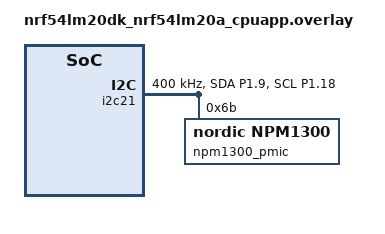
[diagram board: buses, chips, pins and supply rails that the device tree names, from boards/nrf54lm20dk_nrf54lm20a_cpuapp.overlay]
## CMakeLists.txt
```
cmake_minimum_required(VERSION 3.20.0)

find_package(Zephyr REQUIRED HINTS $ENV{ZEPHYR_BASE})
project(rapoo_npm1300)

target_sources(app PRIVATE
  src/main.c
  src/pwr_service.c
  src/advertising_ext.c
  src/fuel_gauge.c
)
```

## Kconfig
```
source "Kconfig.zephyr"

menu "Rapoo npm1300 power profiling"

config BT_POWER_PROFILING_DATA_LENGTH
	int "Notification data length"
	default 20
	range 1 BT_L2CAP_TX_MTU
	help
	  Length of the data sent through the notification mechanism.

config BT_POWER_PROFILING_NOTIFICATION_INTERVAL
	int "Notification interval"
	default 500
	help
	  Notification send interval in milliseconds. Notification data is sent on every interval
	  expiration.

config BT_POWER_PROFILING_NOTIFICATION_TIMEOUT
	int "Notification timeout"
	default 10000
	help
	  Notification timeout in milliseconds. When this timeout fires the device will stop
	  sending notifications.

config BT_POWER_PROFILING_CONNECTABLE_ADV_DURATION
	int "Connectable advertising duration"
	default 3000
	help
	  Connectable advertising duration in N*10 milliseconds unit.

config BT_POWER_PROFILING_NON_CONNECTABLE_ADV_DURATION
	int "Non-connectable advertising duration"
	default 6000
	help
	  Non-connectable advertising duration in N*10 milliseconds unit.

config BT_POWER_PROFILING_CONNECTABLE_ADV_INTERVAL_MIN
	int "Connectable advertising minimum interval"
	default 160
	help
	  Connectable advertising minimum interval in 0.625 milliseconds unit.

config BT_POWER_PROFILING_CONNECTABLE_ADV_INTERVAL_MAX
	int "Connectable advertising maximum interval"
	default 240
	help
	  Connectable advertising maximum interval in 0.625 milliseconds unit.

config BT_POWER_PROFILING_NON_CONNECTABLE_ADV_INTERVAL_MIN
	int "Non-connectable advertising minimum interval"
	default 1600
	help
	  Non-connectable advertising minimum interval in 0.625 milliseconds unit.

config BT_POWER_PROFILING_NON_CONNECTABLE_ADV_INTERVAL_MAX
	int "Non-connectable advertising maximum interval"
	default 1920
	help
	  Non-connectable advertising maximum interval in 0.625 milliseconds unit.

endmenu
```

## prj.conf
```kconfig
# Power management (needed for low power + I2C runtime suspend)
CONFIG_PM_DEVICE=y
CONFIG_PM_DEVICE_RUNTIME=y

CONFIG_MAIN_STACK_SIZE=2048
CONFIG_SYSTEM_WORKQUEUE_STACK_SIZE=2048

# 32 kHz clock source: internal RC oscillator.
# RC calibration stays enabled and uses HFXO, which the radio needs anyway.
CONFIG_CLOCK_CONTROL_NRF_K32SRC_RC=y

# I2C + PMIC + fuel gauge
CONFIG_I2C=y
CONFIG_SENSOR=y
CONFIG_MFD_NPM13XX=y
CONFIG_NPM13XX_CHARGER=y
CONFIG_NRF_FUEL_GAUGE=y
CONFIG_NRF_FUEL_GAUGE_VARIANT_SECONDARY_CELL=y

# Settings on internal RRAM: use ZMS instead of NVS
CONFIG_FLASH=y
CONFIG_FLASH_MAP=y
CONFIG_ZMS=y
CONFIG_SETTINGS=y
CONFIG_SETTINGS_ZMS=y

# Bluetooth power profiling peripheral
CONFIG_BT=y
CONFIG_BT_PERIPHERAL=y
CONFIG_BT_SMP=y
CONFIG_BT_SMP_SC_PAIR_ONLY=y
CONFIG_BT_DEVICE_NAME="Rapoo_pmic"
CONFIG_BT_EXT_ADV=y
CONFIG_BT_USER_PHY_UPDATE=y
CONFIG_BT_CTLR_PHY_CODED=y
CONFIG_BT_SETTINGS=y
CONFIG_BT_ASSERT=n
CONFIG_ASSERT_VERBOSE=n

# No UART console; logs go to J-Link RTT only
CONFIG_LOG=y
CONFIG_LOG_MODE_DEFERRED=y
CONFIG_LOG_DEFAULT_LEVEL=3
CONFIG_USE_SEGGER_RTT=y
CONFIG_LOG_BACKEND_RTT=y
CONFIG_LOG_BACKEND_RTT_MODE_DROP=y
CONFIG_SEGGER_RTT_MODE_NO_BLOCK_SKIP=y
CONFIG_LOG_BACKEND_UART=n
CONFIG_PRINTK=n
CONFIG_BOOT_BANNER=n
CONFIG_NCS_BOOT_BANNER=n
CONFIG_BT_SETTINGS_USE_PRINTK=n
CONFIG_SERIAL=n
CONFIG_CONSOLE=n
CONFIG_UART_CONSOLE=n
CONFIG_SHELL=n
CONFIG_I2C_SHELL=n
CONFIG_LOG_CMDS=n
CONFIG_DK_LIBRARY=n
```

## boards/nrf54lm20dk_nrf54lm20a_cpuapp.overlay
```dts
/*
 * nRF54LM20A application overlay:
 * - remove every on-board peripheral node (LEDs, buttons, UART, SPI, ADC, PWM,
 *   NFC, 802.15.4, USB, temp sensor, GPIO ports)
 * - keep a single I2C bus: SDA = P1.09, SCL = P1.11
 * - attach the nPM1300 PMIC (charger only, no LED node) with its GPIO3
 *   interrupt output wired to P0.09
 */

/ {
	chosen {
		/delete-property/ zephyr,console;
		/delete-property/ zephyr,shell-uart;
		/delete-property/ zephyr,uart-mcumgr;
		/delete-property/ zephyr,bt-mon-uart;
		/delete-property/ zephyr,bt-c2h-uart;
		/delete-property/ zephyr,ieee802154;
		/delete-property/ zephyr,usb-bc12;
	};

	aliases {
		/delete-property/ led0;
		/delete-property/ led1;
		/delete-property/ led2;
		/delete-property/ led3;
		/delete-property/ pwm-led0;
		/delete-property/ sw0;
		/delete-property/ sw1;
		/delete-property/ sw2;
		/delete-property/ sw3;
		/delete-property/ adc;
		/delete-property/ mcuboot-button0;
		/delete-property/ mcuboot-led0;
	};

	/delete-node/ leds;
	/delete-node/ pwmleds;
	/delete-node/ buttons;
	/delete-node/ nordic_expansion_header;
};

/* Board peripherals that are enabled by the DK devicetree */
&uart20 {
	status = "disabled";
};

&uart30 {
	status = "disabled";
};

&spi00 {
	status = "disabled";
};

&spi22 {
	status = "disabled";
};

&pwm20 {
	status = "disabled";
};

&pwm21 {
	status = "disabled";
};

&adc {
	status = "disabled";
};

&nfct {
	status = "disabled";
};

&ieee802154 {
	status = "disabled";
};

&usbhs {
	status = "disabled";
};

&usbhs_bc12 {
	status = "disabled";
};

&temp {
	status = "disabled";
};

/* 32 kHz comes from the internal RC oscillator, no external crystal */
&lfxo {
	status = "disabled";
};

/* No GPIO consumer in this application (PMIC interrupt is not used:
 * GPOIRQ reflects raw event bits and the MFD driver does not clear the ADC
 * and BCHARGER0 events, which keeps the line high and makes its work handler
 * spin. VBUS/charge status is polled every 2 s instead.) */
&gpio0 {
	status = "disabled";
};

&gpio1 {
	status = "disabled";
};

&gpio2 {
	status = "disabled";
};

&gpio3 {
	status = "disabled";
};

&gpiote20 {
	status = "disabled";
};

/* gpiote30 is only needed by gpio0, which is unused */
&gpiote30 {
	status = "disabled";
};

/* Single I2C bus, SDA = P1.09, SCL = P1.11 */
&pinctrl {
	i2c21_default: i2c21_default {
		group1 {
			psels = <NRF_PSEL(TWIM_SDA, 1, 9)>,
				<NRF_PSEL(TWIM_SCL, 1, 18)>;
			bias-pull-up;
		};
	};

	i2c21_sleep: i2c21_sleep {
		group1 {
			psels = <NRF_PSEL(TWIM_SDA, 1, 9)>,
				<NRF_PSEL(TWIM_SCL, 1, 18)>;
			low-power-enable;
		};
	};
};

&i2c21 {
	status = "okay";
	clock-frequency = <400000>;
	pinctrl-0 = <&i2c21_default>;
	pinctrl-1 = <&i2c21_sleep>;
	pinctrl-names = "default", "sleep";
	//zephyr,pm-device-runtime-auto;

	npm1300_pmic: pmic@6b {
		compatible = "nordic,npm1300";
		reg = <0x6b>;

		/* PMIC interrupt GPIO not used: GPOIRQ is a raw event OR and the MFD
		 * driver leaves ADC/BCHARGER0 events uncleared, which would keep the
		 * line high and spin its work handler. VBUS/charge status is polled.
		 */

		npm1300_charger: charger {
			compatible = "nordic,npm1300-charger";
			term-microvolt = <4150000>;
			term-warm-microvolt = <4000000>;
			current-microamp = <150000>;
			dischg-limit-microamp = <1000000>;
			vbus-limit-microamp = <500000>;
			thermistor-ohms = <10000>;
			thermistor-beta = <3380>;
			charging-enable;
		};
	};
};
```

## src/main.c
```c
#include <math.h>
#include <stdlib.h>
#include <string.h>

#include <zephyr/kernel.h>
#include <zephyr/device.h>
#include <zephyr/drivers/mfd/npm13xx.h>
#include <zephyr/drivers/sensor.h>
#include <zephyr/logging/log.h>
#include <zephyr/logging/log_ctrl.h>
#include <zephyr/settings/settings.h>
#include <zephyr/sys/atomic.h>
#include <zephyr/sys/byteorder.h>
#include <zephyr/sys/util.h>

#include <zephyr/bluetooth/bluetooth.h>
#include <zephyr/bluetooth/conn.h>
#include <zephyr/bluetooth/hci.h>

#include "advertising.h"
#include "pwr_service.h"
#include "fuel_gauge.h"

LOG_MODULE_REGISTER(app, LOG_LEVEL_INF);

#define MEASUREMENT_INTERVAL	 K_MSEC(2000)
#define ADVERTISING_WINDOW_MS	 60000
#define IDLE_WINDOW_MS		 60000
/* nPM1300 timer maximum is 0xFFFFFF * 16 ms (~74.5 hours). */
#define HIBERNATE_WAKE_MS	 268000000U
#define ADV_RESTART_DELAY	 K_MSEC(100)

#define NOTIFICATION_INTERVAL	 CONFIG_BT_POWER_PROFILING_NOTIFICATION_INTERVAL
#define NOTIFICATION_TIMEOUT	 CONFIG_BT_POWER_PROFILING_NOTIFICATION_TIMEOUT
#define NOTIFICATION_PIPELINE_SIZE CONFIG_BT_CONN_TX_MAX

#define PAYLOAD_LEN		  CONFIG_BT_POWER_PROFILING_DATA_LENGTH
#define PAYLOAD_VERSION		  1
#define PAYLOAD_FLAG_VBUS	  BIT(0)
#define PAYLOAD_FLAG_CHARGING	  BIT(1)
#define PAYLOAD_NOT_AVAILABLE	  0xFFFF
#define CHARGING_ACTIVE_MASK	  (BIT(2) | BIT(3) | BIT(4))

#if PAYLOAD_LEN < 14
#error "CONFIG_BT_POWER_PROFILING_DATA_LENGTH must be at least 14 bytes"
#endif

static const struct device *const pmic = DEVICE_DT_GET(DT_NODELABEL(npm1300_pmic));
static const struct device *const charger = DEVICE_DT_GET(DT_NODELABEL(npm1300_charger));

static struct bt_conn *device_conn;
static atomic_t notify_pipeline = ATOMIC_INIT(NOTIFICATION_PIPELINE_SIZE);

static void notify_work_handler(struct k_work *work);
static void notify_timeout_handler(struct k_work *work);
static void adv_restart_handler(struct k_work *work);
static void idle_handler(struct k_work *work);
static void power_off_handler(struct k_work *work);

static K_WORK_DELAYABLE_DEFINE(notify_work, notify_work_handler);
static K_WORK_DELAYABLE_DEFINE(notify_timeout, notify_timeout_handler);
static K_WORK_DELAYABLE_DEFINE(adv_restart_work, adv_restart_handler);
static K_WORK_DELAYABLE_DEFINE(idle_work, idle_handler);
static K_WORK_DELAYABLE_DEFINE(power_off_work, power_off_handler);

static bool idle_mode;

static uint16_t clamp_u16(float value)
{
	if (!isfinite(value) || value <= 0.f) {
		return 0;
	}

	if (value >= (float)UINT16_MAX) {
		return UINT16_MAX;
	}

	return (uint16_t)lroundf(value);
}

static int16_t clamp_s16(float value)
{
	if (!isfinite(value)) {
		return 0;
	}

	if (value >= (float)INT16_MAX) {
		return INT16_MAX;
	}

	if (value <= (float)INT16_MIN) {
		return INT16_MIN;
	}

	return (int16_t)lroundf(value);
}

static bool vbus_is_connected(void)
{
	struct sensor_value val;
	int ret;

	ret = sensor_attr_get(charger, SENSOR_CHAN_CURRENT, SENSOR_ATTR_UPPER_THRESH, &val);
	if (ret < 0) {
		return false;
	}

	return (val.val1 != 0) || (val.val2 != 0);
}

/*
 * nPM1300 register map, see zephyr/drivers/regulator/regulator_npm13xx.c.
 *
 * LDO1/LDO2 and LDSW1/LDSW2 are the same output pins: each block works either
 * as an LDO or as a load switch, so clearing the enable bit turns both off.
 */
#define NPM13XX_BUCK_BASE	   0x04U
#define NPM13XX_BUCK_OFFSET_EN_CLR  0x01U
#define NPM13XX_BUCK_OFFSET_PWM_CLR 0x05U
#define NPM13XX_BUCK_OFFSET_CTRL0   0x15U
#define NPM13XX_BUCK_OFFSET_STATUS  0x34U
#define NPM13XX_BUCK1_ON_MASK	   0x04U
#define NPM13XX_BUCK1_PFM_MASK	   0x01U
#define NPM13XX_BUCK2_ON_MASK	   0x40U

#define NPM13XX_LDSW_BASE	    0x08U
#define NPM13XX_LDSW_OFFSET_EN_CLR  0x01U
#define NPM13XX_LDSW_OFFSET_STATUS  0x04U
#define NPM13XX_LDSW1_ON_MASK	    0x03U
#define NPM13XX_LDSW2_ON_MASK	    0x0CU

static int pmic_disable_unused_rails(void)
{
	int err;

	/* BUCK2 is not used on this design. */
	err = mfd_npm13xx_reg_write(pmic, NPM13XX_BUCK_BASE,
				    NPM13XX_BUCK_OFFSET_EN_CLR + 2U, 1U);
	if (err) {
		LOG_ERR("Cannot disable BUCK2 (%d)", err);
		return err;
	}

	/* Disable LDO1 / load switch 1. */
	err = mfd_npm13xx_reg_write(pmic, NPM13XX_LDSW_BASE, NPM13XX_LDSW_OFFSET_EN_CLR, 1U);
	if (err) {
		LOG_ERR("Cannot disable LDO1/LS1 (%d)", err);
		return err;
	}

	/* Disable LDO2 / load switch 2. */
	err = mfd_npm13xx_reg_write(pmic, NPM13XX_LDSW_BASE,
				    NPM13XX_LDSW_OFFSET_EN_CLR + 2U, 1U);
	if (err) {
		LOG_ERR("Cannot disable LDO2/LS2 (%d)", err);
		return err;
	}

	return 0;
}

/*
 * Force BUCK1 into PFM (pulse frequency modulation) mode: set the PFM bit in
 * BUCK_CTRL0 and clear the PWM bit. This is a fixed mode, not auto.
 */
static int pmic_set_buck1_pfm(void)
{
	uint8_t ctrl = 0;
	int err;

	err = mfd_npm13xx_reg_update(pmic, NPM13XX_BUCK_BASE, NPM13XX_BUCK_OFFSET_CTRL0,
				     NPM13XX_BUCK1_PFM_MASK, NPM13XX_BUCK1_PFM_MASK);
	if (err) {
		LOG_ERR("Cannot set BUCK1 PFM bit (%d)", err);
		return err;
	}

	err = mfd_npm13xx_reg_write(pmic, NPM13XX_BUCK_BASE, NPM13XX_BUCK_OFFSET_PWM_CLR, 1U);
	if (err) {
		LOG_ERR("Cannot clear BUCK1 PWM bit (%d)", err);
		return err;
	}

	if (mfd_npm13xx_reg_read(pmic, NPM13XX_BUCK_BASE, NPM13XX_BUCK_OFFSET_CTRL0, &ctrl) == 0) {
		LOG_INF("BUCK1 fixed PFM (BUCK_CTRL0=0x%02x)", ctrl);
	}

	return 0;
}

static void pmic_log_rail_status(void)
{
	uint8_t buck = 0;
	uint8_t ldsw = 0;
	int err;

	err = mfd_npm13xx_reg_read(pmic, NPM13XX_BUCK_BASE, NPM13XX_BUCK_OFFSET_STATUS, &buck);
	if (err) {
		LOG_WRN("Cannot read BUCK status (%d)", err);
		return;
	}

	err = mfd_npm13xx_reg_read(pmic, NPM13XX_LDSW_BASE, NPM13XX_LDSW_OFFSET_STATUS, &ldsw);
	if (err) {
		LOG_WRN("Cannot read LDO/LS status (%d)", err);
		return;
	}

	LOG_INF("PMIC rails: BUCK1=%d BUCK2=%d LDO1/LS1=%d LDO2/LS2=%d (0x%02x/0x%02x)",
		!!(buck & NPM13XX_BUCK1_ON_MASK), !!(buck & NPM13XX_BUCK2_ON_MASK),
		!!(ldsw & NPM13XX_LDSW1_ON_MASK), !!(ldsw & NPM13XX_LDSW2_ON_MASK),
		buck, ldsw);
}

/*
 * 20-byte payload (little endian):
 *  0     version
 *  1     flags: bit0 VBUS, bit1 charging
 *  2..3  SoC x100 [%]
 *  4..5  voltage [mV]
 *  6..7  current [mA x10], positive = discharging
 *  8..9  temperature [degC x100]
 * 10..11 state of health x100 [%]
 * 12..13 time to empty/full [min], 0xFFFF = not available
 * 14..   reserved, zero
 */
static void log_measurement(const struct fuel_gauge_snapshot *snap, uint8_t flags)
{
	int soc = (int)lroundf(snap->soc * 100.f);
	int voltage = (int)lroundf(snap->voltage * 1000.f);
	int current = (int)lroundf(snap->current * 10000.f);
	int temp = (int)lroundf(snap->temp * 100.f);
	int soh = (int)lroundf(snap->soh * 100.f);

	LOG_INF("battery SoC=%d.%02d%% V=%d mV I=%d.%d mA T=%d.%02d C SoH=%d.%02d%% VBUS=%d CHG=%d",
		soc / 100, abs(soc % 100), voltage, current / 10, abs(current % 10),
		temp / 100, abs(temp % 100), soh / 100, abs(soh % 100),
		(flags & PAYLOAD_FLAG_VBUS) ? 1 : 0,
		(flags & PAYLOAD_FLAG_CHARGING) ? 1 : 0);
}

static void publish_measurement(bool vbus_connected)
{
	struct fuel_gauge_snapshot snap;
	uint8_t payload[PAYLOAD_LEN] = {0};
	uint16_t time_to = PAYLOAD_NOT_AVAILABLE;
	uint8_t flags = 0;
	float minutes;

	if (fuel_gauge_get_snapshot(&snap) < 0 || !snap.valid) {
		LOG_WRN("Fuel gauge snapshot not valid");
		return;
	}

	if (vbus_connected) {
		flags |= PAYLOAD_FLAG_VBUS;
	}

	if (snap.chg_status & CHARGING_ACTIVE_MASK) {
		flags |= PAYLOAD_FLAG_CHARGING;
	}

	if (isfinite(snap.tte)) {
		minutes = snap.tte / 60.f;
		time_to = (uint16_t)MIN(clamp_u16(minutes), (uint16_t)(PAYLOAD_NOT_AVAILABLE - 1));
	} else if (isfinite(snap.ttf)) {
		minutes = snap.ttf / 60.f;
		time_to = (uint16_t)MIN(clamp_u16(minutes), (uint16_t)(PAYLOAD_NOT_AVAILABLE - 1));
	}

	payload[0] = PAYLOAD_VERSION;
	payload[1] = flags;
	sys_put_le16(clamp_u16(snap.soc * 100.f), &payload[2]);
	sys_put_le16(clamp_u16(snap.voltage * 1000.f), &payload[4]);
	sys_put_le16((uint16_t)clamp_s16(snap.current * 10000.f), &payload[6]);
	sys_put_le16((uint16_t)clamp_s16(snap.temp * 100.f), &payload[8]);
	sys_put_le16(clamp_u16(snap.soh * 100.f), &payload[10]);
	sys_put_le16(time_to, &payload[12]);

	log_measurement(&snap, flags);

	(void)pwr_service_set_data(payload, sizeof(payload));
}

static void notify_work_handler(struct k_work *work)
{
	int err;
	atomic_val_t pipeline = atomic_get(&notify_pipeline);

	if (pipeline == 0) {
		/* No room in the Bluetooth stack for another notification. */
		k_work_reschedule(k_work_delayable_from_work(work), K_MSEC(NOTIFICATION_INTERVAL));
		return;
	}

	err = pwr_service_notify(NULL);
	if (err == 0) {
		atomic_dec(&notify_pipeline);
	}

	k_work_reschedule(k_work_delayable_from_work(work), K_MSEC(NOTIFICATION_INTERVAL));
}

static void notify_timeout_handler(struct k_work *work)
{
	ARG_UNUSED(work);

	if (device_conn) {
		k_work_cancel_delayable(&notify_work);

		(void)bt_conn_disconnect(device_conn, BT_HCI_ERR_REMOTE_USER_TERM_CONN);
	}
}

static void pwr_notify_sent_cb(struct bt_conn *conn, void *user_data)
{
	ARG_UNUSED(conn);
	ARG_UNUSED(user_data);

	atomic_inc(&notify_pipeline);
}

static void pwr_notify_status_cb(enum pwr_service_status status, void *user_data)
{
	ARG_UNUSED(user_data);

	switch (status) {
	case PWR_SERVICE_STATUS_NOTIFY_ENABLED:
		k_work_schedule(&notify_timeout, K_MSEC(NOTIFICATION_TIMEOUT));
		k_work_schedule(&notify_work, K_NO_WAIT);
		break;

	case PWR_SERVICE_STATUS_NOTIFY_DISABLED:
		k_work_cancel_delayable(&notify_work);
		k_work_cancel_delayable(&notify_timeout);
		break;

	default:
		break;
	}
}

static const struct pwr_service_cb pwr_service_callback = {
	.sent_cb = pwr_notify_sent_cb,
	.notify_status_cb = pwr_notify_status_cb,
};

static void start_advertising_window(void)
{
	int err;

	if (idle_mode) {
		return;
	}

	err = advertising_start_connectable();
	if (err) {
		LOG_ERR("Advertising start failed (%d)", err);
	} else {
		LOG_INF("Advertising as \"%s\", window %u s", CONFIG_BT_DEVICE_NAME,
			ADVERTISING_WINDOW_MS / 1000U);
	}

	/* Only the start of a window arms the 60 s timer; internal advertising
	 * restarts must not extend it.
	 */
	if (!k_work_delayable_is_pending(&idle_work)) {
		k_work_reschedule(&idle_work, K_MSEC(ADVERTISING_WINDOW_MS));
	}
}

static void adv_restart_handler(struct k_work *work)
{
	ARG_UNUSED(work);

	start_advertising_window();
}

static void connected(struct bt_conn *conn, uint8_t conn_err)
{
	if (conn_err) {
		return;
	}

	device_conn = conn;

	/* A connection cancels the idle / power-off countdown. */
	k_work_cancel_delayable(&idle_work);

	LOG_INF("Central connected");
}

static void disconnected(struct bt_conn *conn, uint8_t reason)
{
	ARG_UNUSED(conn);

	device_conn = NULL;

	atomic_set(&notify_pipeline, NOTIFICATION_PIPELINE_SIZE);

	k_work_cancel_delayable(&notify_work);
	k_work_cancel_delayable(&notify_timeout);

	LOG_INF("Central disconnected (0x%02x)", reason);

	/* Restart the advertising window from scratch. */
	k_work_schedule(&adv_restart_work, ADV_RESTART_DELAY);
}

static void idle_handler(struct k_work *work)
{
	int err;

	ARG_UNUSED(work);

	if (device_conn) {
		/* A connection arrived just before the timer: stay active. */
		return;
	}

	idle_mode = true;

	k_work_cancel_delayable(&adv_restart_work);
	(void)advertising_stop();

	err = bt_disable();

	LOG_INF("Idle mode: advertising stopped, Bluetooth %s",
		err ? "disable failed" : "disabled");

	k_work_schedule(&power_off_work, K_MSEC(IDLE_WINDOW_MS));
}

static void power_off_handler(struct k_work *work)
{
	int err;

	ARG_UNUSED(work);

	LOG_INF("Power off: nPM1300 hibernate (wake in %u ms)", HIBERNATE_WAKE_MS);

	/* Flush the line to the RTT backend before hibernate cuts the supply. */
	log_flush();
	k_msleep(10);

	err = mfd_npm13xx_hibernate(pmic, HIBERNATE_WAKE_MS);
	if (err) {
		LOG_ERR("Hibernate failed (%d)", err);
	}
}

BT_CONN_CB_DEFINE(connection_cb) = {
	.connected = connected,
	.disconnected = disconnected,
};

static void on_adv_terminated(void)
{
	if (!device_conn && !idle_mode) {
		k_work_schedule(&adv_restart_work, ADV_RESTART_DELAY);
	}
}

static const struct advertising_cb adv_module_cb = {
	.terminated = on_adv_terminated,
};

int main(void)
{
	int err;

	LOG_INF("Rapoo PMIC monitor starting");

	if (!device_is_ready(pmic) || !device_is_ready(charger)) {
		LOG_ERR("nPM1300 not ready (pmic=%d charger=%d)", device_is_ready(pmic),
			device_is_ready(charger));
		return 0;
	}

	/* LDO1/LDO2 and the load switches share outputs, turning them off here
	 * disables both functions. BUCK2 is intentionally left enabled: on this
	 * setup it may be the rail that powers the DK SoC.
	 */
	pmic_log_rail_status();

	err = pmic_disable_unused_rails();
	if (err) {
		LOG_WRN("Unused rail disable failed (%d)", err);
	}

	pmic_log_rail_status();

	err = pmic_set_buck1_pfm();
	if (err) {
		LOG_WRN("BUCK1 PFM configuration failed (%d)", err);
	}

	err = pwr_service_cb_register(&pwr_service_callback, NULL);
	if (err) {
		LOG_ERR("pwr_service_cb_register failed (%d)", err);
		return 0;
	}

	err = bt_enable(NULL);
	if (err) {
		LOG_ERR("bt_enable failed (%d)", err);
		return 0;
	}

	if (IS_ENABLED(CONFIG_SETTINGS)) {
		err = settings_subsys_init();
		if (err) {
			LOG_ERR("settings_subsys_init failed (%d)", err);
			return 0;
		}

		err = settings_load();
		if (err) {
			LOG_ERR("settings_load failed (%d)", err);
			return 0;
		}
	}

	err = advertising_init(&adv_module_cb);
	if (err) {
		LOG_ERR("advertising_init failed (%d)", err);
		return 0;
	}

	if (fuel_gauge_init(charger) < 0) {
		LOG_ERR("fuel_gauge_init failed");
		return 0;
	}

	/* Start the first 60 s advertising window. */
	start_advertising_window();

	for (;;) {
		bool vbus_connected = vbus_is_connected();

		err = fuel_gauge_update(charger, vbus_connected);
		if (err) {
			LOG_ERR("fuel_gauge_update failed (%d)", err);
		}

		publish_measurement(vbus_connected);
		fuel_gauge_store_state();

		k_sleep(MEASUREMENT_INTERVAL);
	}
}
```

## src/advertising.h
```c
/*
 * Copyright (c) 2026 Nordic Semiconductor ASA
 *
 * SPDX-License-Identifier: LicenseRef-Nordic-5-Clause
 */

#ifndef ADVERTISING_H_
#define ADVERTISING_H_

#ifdef __cplusplus
extern "C" {
#endif

/**
 * @brief Invoked when advertising stops due to duration timeout (no connection).
 *
 * @note The Bluetooth stack may invoke this from a cooperative context.
 */
typedef void (*advertising_terminated_cb_t)(void);

/**
 * @brief Advertising module callbacks.
 *
 * Keep this structure for future extensions; new fields must be appended.
 */
struct advertising_cb {
	/** Called when connectable or non-connectable advertising times out. */
	advertising_terminated_cb_t terminated;
};

/**
 * @brief Initialize the advertising module.
 *
 * Must be called after @ref bt_enable. Creates resources (for example, extended advertising set)
 * when @kconfig{CONFIG_BT_EXT_ADV} is enabled; otherwise uses legacy advertising.
 *
 * Durations and intervals are taken from Kconfig:
 * - @kconfig{CONFIG_BT_POWER_PROFILING_CONNECTABLE_ADV_DURATION}
 * - @kconfig{CONFIG_BT_POWER_PROFILING_NON_CONNECTABLE_ADV_DURATION}
 * - @kconfig{CONFIG_BT_POWER_PROFILING_CONNECTABLE_ADV_INTERVAL_MIN} / _MAX
 * - @kconfig{CONFIG_BT_POWER_PROFILING_NON_CONNECTABLE_ADV_INTERVAL_MIN} / _MAX
 *
 * @param[in] cb Callbacks. Must remain valid for the lifetime of the module.
 *
 * @retval 0 Success.
 * @retval -EINVAL @p cb is NULL or a required callback is missing.
 * @retval -EALREADY Already initialized.
 * @retval Negative errno Other error from the implementation.
 */
int advertising_init(const struct advertising_cb *cb);

/**
 * @brief Start connectable advertising.
 *
 * Stops any ongoing advertising first. Duration is
 * @kconfig{CONFIG_BT_POWER_PROFILING_CONNECTABLE_ADV_DURATION}
 * (N × 10 ms units for each Zephyr API).
 *
 * @retval 0 Success.
 * @retval -EINVAL Module not initialized.
 * @retval Negative errno Error from the Bluetooth stack or implementation.
 */
int advertising_start_connectable(void);

/**
 * @brief Start non-connectable advertising.
 *
 * Stops any ongoing advertising first. Duration is
 * @kconfig{CONFIG_BT_POWER_PROFILING_NON_CONNECTABLE_ADV_DURATION}.
 *
 * @retval 0 Success.
 * @retval -EINVAL Module not initialized.
 * @retval Negative errno Error from the Bluetooth stack or implementation.
 */
int advertising_start_non_connectable(void);

/**
 * @brief Stop advertising.
 *
 * @retval 0 Success (including if advertising was already stopped).
 * @retval Negative errno Error from the Bluetooth stack or implementation.
 */
int advertising_stop(void);

#ifdef __cplusplus
}
#endif

#endif /* ADVERTISING_H_ */
```

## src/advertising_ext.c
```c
/*
 * Copyright (c) 2026 Nordic Semiconductor ASA
 *
 * SPDX-License-Identifier: LicenseRef-Nordic-5-Clause
 */

#include <errno.h>
#include <stdbool.h>

#include <zephyr/bluetooth/bluetooth.h>
#include <zephyr/kernel.h>
#include <zephyr/sys/util.h>

#include "advertising.h"

static struct bt_le_ext_adv *adv_set;
static const struct advertising_cb *adv_cb;
static bool initialized;

static const struct bt_data connectable_ad_data[] = {
	BT_DATA_BYTES(BT_DATA_FLAGS, (BT_LE_AD_GENERAL | BT_LE_AD_NO_BREDR)),
	BT_DATA(BT_DATA_NAME_COMPLETE, CONFIG_BT_DEVICE_NAME, sizeof(CONFIG_BT_DEVICE_NAME) - 1),
};

static const struct bt_data non_connectable_ad_data[] = {
	BT_DATA_BYTES(BT_DATA_FLAGS, BT_LE_AD_NO_BREDR),
	BT_DATA_BYTES(BT_DATA_URI, /* The URI of the https://www.nordicsemi.com website */
		      0x17,	   /* UTF-8 code point for "https:" */
		      '/', '/', 'w', 'w', 'w', '.', 'n', 'o', 'r', 'd', 'i', 'c', 's', 'e', 'm',
		      'i', '.', 'c', 'o', 'm'),
};

static const struct bt_le_adv_param *connectable_ad_params =
	BT_LE_ADV_PARAM(BT_LE_ADV_OPT_CONN, CONFIG_BT_POWER_PROFILING_CONNECTABLE_ADV_INTERVAL_MIN,
			CONFIG_BT_POWER_PROFILING_CONNECTABLE_ADV_INTERVAL_MAX, NULL);

static const struct bt_le_adv_param *non_connectable_ad_params = BT_LE_ADV_PARAM(
	BT_LE_ADV_OPT_NONE, CONFIG_BT_POWER_PROFILING_NON_CONNECTABLE_ADV_INTERVAL_MIN,
	CONFIG_BT_POWER_PROFILING_NON_CONNECTABLE_ADV_INTERVAL_MAX, NULL);

static void adv_sent(struct bt_le_ext_adv *adv, struct bt_le_ext_adv_sent_info *info)
{
	ARG_UNUSED(adv);
	ARG_UNUSED(info);

	if (adv_cb && adv_cb->terminated) {
		adv_cb->terminated();
	}
}

static const struct bt_le_ext_adv_cb adv_callbacks = {
	.sent = adv_sent,
};

static int start_connectable(uint16_t timeout)
{
	int err;
	struct bt_le_ext_adv_start_param ext_start_param = {
		.timeout = timeout,
		.num_events = 0,
	};

	(void)bt_le_ext_adv_stop(adv_set);
	err = bt_le_ext_adv_update_param(adv_set, connectable_ad_params);
	if (err) {
		return err;
	}

	err = bt_le_ext_adv_set_data(adv_set, connectable_ad_data, ARRAY_SIZE(connectable_ad_data),
				     NULL, 0);
	if (err) {
		return err;
	}

	return bt_le_ext_adv_start(adv_set, &ext_start_param);
}

static int start_non_connectable(uint16_t timeout)
{
	int err;
	struct bt_le_ext_adv_start_param ext_start_param = {
		.timeout = timeout,
		.num_events = 0,
	};

	(void)bt_le_ext_adv_stop(adv_set);
	err = bt_le_ext_adv_update_param(adv_set, non_connectable_ad_params);
	if (err) {
		return err;
	}

	err = bt_le_ext_adv_set_data(adv_set, non_connectable_ad_data,
				     ARRAY_SIZE(non_connectable_ad_data), NULL, 0);
	if (err) {
		return err;
	}

	return bt_le_ext_adv_start(adv_set, &ext_start_param);
}

int advertising_init(const struct advertising_cb *cb)
{
	int err;

	if (!cb || !cb->terminated) {
		return -EINVAL;
	}

	if (initialized) {
		return -EALREADY;
	}

	adv_cb = cb;

	err = bt_le_ext_adv_create(connectable_ad_params, &adv_callbacks, &adv_set);
	if (err) {
		return err;
	}

	initialized = true;

	return 0;
}

int advertising_start_connectable(void)
{
	if (!initialized) {
		return -EINVAL;
	}

	return start_connectable(CONFIG_BT_POWER_PROFILING_CONNECTABLE_ADV_DURATION);
}

int advertising_start_non_connectable(void)
{
	if (!initialized) {
		return -EINVAL;
	}

	return start_non_connectable(CONFIG_BT_POWER_PROFILING_NON_CONNECTABLE_ADV_DURATION);
}

int advertising_stop(void)
{
	if (!initialized || !adv_set) {
		return 0;
	}

	return bt_le_ext_adv_stop(adv_set);
}
```

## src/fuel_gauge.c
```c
#include <math.h>
#include <string.h>

#include <zephyr/kernel.h>
#include <zephyr/device.h>
#include <zephyr/drivers/sensor.h>
#include <zephyr/drivers/sensor/npm13xx_charger.h>
#include <zephyr/settings/settings.h>
#include <zephyr/sys/util.h>

#include <nrf_fuel_gauge.h>

#include "fuel_gauge.h"

#define SETTINGS_KEY "fuel_gauge_state"

/* Store the state at most every 10 minutes, or right after a VBUS change. */
#define STATE_STORE_INTERVAL_MS (10 * 60 * 1000)

/* nPM13xx CHARGER.BCHGCHARGESTATUS register bitmasks */
#define NPM13XX_CHG_STATUS_COMPLETE_MASK BIT(1)
#define NPM13XX_CHG_STATUS_TRICKLE_MASK	 BIT(2)
#define NPM13XX_CHG_STATUS_CC_MASK	 BIT(3)
#define NPM13XX_CHG_STATUS_CV_MASK	 BIT(4)

static int64_t ref_time;
static int64_t last_store_time;
static bool store_pending;
static struct fuel_gauge_snapshot snapshot;

static const struct battery_model battery_model = {
#include "battery_model.inc"
};

static uint8_t fuel_gauge_state_buf[1024];

static int read_sensors(const struct device *charger, float *voltage, float *current, float *temp,
			int32_t *chg_status)
{
	struct sensor_value value;
	int ret;

	ret = sensor_sample_fetch(charger);
	if (ret < 0) {
		return ret;
	}

	sensor_channel_get(charger, SENSOR_CHAN_GAUGE_VOLTAGE, &value);
	*voltage = (float)value.val1 + ((float)value.val2 / 1000000);

	sensor_channel_get(charger, SENSOR_CHAN_GAUGE_TEMP, &value);
	*temp = (float)value.val1 + ((float)value.val2 / 1000000);

	sensor_channel_get(charger, SENSOR_CHAN_GAUGE_AVG_CURRENT, &value);
	*current = (float)value.val1 + ((float)value.val2 / 1000000);

	sensor_channel_get(charger, SENSOR_CHAN_NPM13XX_CHARGER_STATUS, &value);
	*chg_status = value.val1;

	return 0;
}

static int charge_status_inform(int32_t chg_status)
{
	union nrf_fuel_gauge_ext_state_info_data state_info;

	if (chg_status & NPM13XX_CHG_STATUS_COMPLETE_MASK) {
		state_info.charge_state = NRF_FUEL_GAUGE_CHARGE_STATE_COMPLETE;
	} else if (chg_status & NPM13XX_CHG_STATUS_TRICKLE_MASK) {
		state_info.charge_state = NRF_FUEL_GAUGE_CHARGE_STATE_TRICKLE;
	} else if (chg_status & NPM13XX_CHG_STATUS_CC_MASK) {
		/* The charge current may be limited by VBUS, hence CC_LIMITED. */
		state_info.charge_state = NRF_FUEL_GAUGE_CHARGE_STATE_CC_LIMITED;
	} else if (chg_status & NPM13XX_CHG_STATUS_CV_MASK) {
		state_info.charge_state = NRF_FUEL_GAUGE_CHARGE_STATE_CV;
	} else {
		state_info.charge_state = NRF_FUEL_GAUGE_CHARGE_STATE_IDLE;
	}

	return nrf_fuel_gauge_ext_state_update(NRF_FUEL_GAUGE_EXT_STATE_INFO_CHARGE_STATE_CHANGE,
					       &state_info);
}

int fuel_gauge_init(const struct device *charger)
{
	struct sensor_value value;
	struct nrf_fuel_gauge_init_parameters parameters =
		NRF_FUEL_GAUGE_DEFAULT_INIT_PARAMETERS_SECONDARY(0.0f, 0.0f, 0.0f, &battery_model);
	float max_charge_current;
	float term_charge_current;
	int32_t chg_status;
	int ret;

	ret = read_sensors(charger, &parameters.v0, &parameters.i0, &parameters.t0, &chg_status);
	if (ret < 0) {
		return ret;
	}

	/* Zephyr sensor API convention is negative=discharging, while nrf_fuel_gauge
	 * expects the opposite (negative=charging).
	 */
	parameters.i0 = -parameters.i0;

	/* Store charge nominal and termination current, needed for TTF calculation. */
	sensor_channel_get(charger, SENSOR_CHAN_GAUGE_DESIRED_CHARGING_CURRENT, &value);
	max_charge_current = (float)value.val1 + ((float)value.val2 / 1000000);
	term_charge_current = max_charge_current / 10.f;

	if (IS_ENABLED(CONFIG_SETTINGS)) {
		ssize_t len;

		len = settings_load_one(SETTINGS_KEY, fuel_gauge_state_buf,
					sizeof(fuel_gauge_state_buf));
		if (len == nrf_fuel_gauge_state_size) {
			parameters.state = fuel_gauge_state_buf;
			parameters.state_size = len;
		}
	}

	ret = nrf_fuel_gauge_init(&parameters, NULL);
	if (ret < 0) {
		return ret;
	}

	ret = nrf_fuel_gauge_ext_state_update(NRF_FUEL_GAUGE_EXT_STATE_INFO_CHARGE_CURRENT_LIMIT,
					      &(union nrf_fuel_gauge_ext_state_info_data){
						      .charge_current_limit = max_charge_current});
	if (ret < 0) {
		return ret;
	}

	ret = nrf_fuel_gauge_ext_state_update(NRF_FUEL_GAUGE_EXT_STATE_INFO_TERM_CURRENT,
					      &(union nrf_fuel_gauge_ext_state_info_data){
						      .charge_term_current = term_charge_current});
	if (ret < 0) {
		return ret;
	}

	ret = charge_status_inform(chg_status);
	if (ret < 0) {
		return ret;
	}

	ref_time = k_uptime_get();
	last_store_time = ref_time;

	return 0;
}

int fuel_gauge_update(const struct device *charger, bool vbus_connected)
{
	static int32_t chg_status_prev;
	static bool vbus_prev;

	struct nrf_fuel_gauge_state_info state_info;
	float voltage;
	float current;
	float temp;
	float soc;
	float soh;
	float tte;
	float ttf;
	float delta;
	int32_t chg_status;
	int ret;

	ret = read_sensors(charger, &voltage, &current, &temp, &chg_status);
	if (ret < 0) {
		return ret;
	}

	ret = nrf_fuel_gauge_ext_state_update(
		vbus_connected ? NRF_FUEL_GAUGE_EXT_STATE_INFO_VBUS_CONNECTED
			       : NRF_FUEL_GAUGE_EXT_STATE_INFO_VBUS_DISCONNECTED,
		NULL);
	if (ret < 0) {
		return ret;
	}

	if (chg_status != chg_status_prev) {
		chg_status_prev = chg_status;

		ret = charge_status_inform(chg_status);
		if (ret < 0) {
			return ret;
		}
	}

	if (vbus_connected != vbus_prev) {
		vbus_prev = vbus_connected;
		store_pending = true;
	}

	delta = (float)k_uptime_delta(&ref_time) / 1000.f;

	/* Negative=charging for the fuel gauge library. */
	current = -current;
	ret = nrf_fuel_gauge_process(voltage, current, temp, delta, &soc, &state_info);
	if (ret < 0) {
		return ret;
	}

	ret = nrf_fuel_gauge_soh_get(&soh);
	if (ret < 0) {
		soh = NAN;
	}

	if (current >= 0.0f) {
		/* Discharging */
		ret = nrf_fuel_gauge_tte_get(&tte);
		if (ret < 0) {
			tte = NAN;
		}
		ttf = NAN;
	} else {
		/* Charging */
		ret = nrf_fuel_gauge_ttf_get(&ttf);
		if (ret < 0) {
			ttf = NAN;
		}
		tte = NAN;
	}

	snapshot.valid = true;
	snapshot.vbus_connected = vbus_connected;
	snapshot.chg_status = chg_status;
	snapshot.voltage = voltage;
	snapshot.current = current;
	snapshot.temp = temp;
	snapshot.soc = soc;
	snapshot.soh = soh;
	snapshot.tte = tte;
	snapshot.ttf = ttf;

	return 0;
}

int fuel_gauge_get_snapshot(struct fuel_gauge_snapshot *out)
{
	if (!out) {
		return -EINVAL;
	}

	*out = snapshot;

	return 0;
}

void fuel_gauge_store_state(void)
{
	int64_t now;
	int ret;

	if (!IS_ENABLED(CONFIG_SETTINGS)) {
		return;
	}

	now = k_uptime_get();

	if (!store_pending && (now - last_store_time) < STATE_STORE_INTERVAL_MS) {
		return;
	}

	ret = nrf_fuel_gauge_state_get(fuel_gauge_state_buf, sizeof(fuel_gauge_state_buf));
	if (ret < 0) {
		return;
	}

	ret = settings_save_one(SETTINGS_KEY, fuel_gauge_state_buf, nrf_fuel_gauge_state_size);
	if (ret < 0) {
		return;
	}

	store_pending = false;
	last_store_time = now;
}
```

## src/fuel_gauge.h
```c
#ifndef __FUEL_GAUGE_H__
#define __FUEL_GAUGE_H__

#include <stdbool.h>
#include <stdint.h>

#include <zephyr/device.h>

/** @brief Latest fuel gauge measurement. */
struct fuel_gauge_snapshot {
	/** True once the fuel gauge algorithm produced a first valid result. */
	bool valid;
	/** True when VBUS is present. */
	bool vbus_connected;
	/** nPM13xx charger status register value. */
	int32_t chg_status;
	/** Battery voltage [V]. */
	float voltage;
	/** Battery current [A], positive = discharging (Zephyr sensor convention). */
	float current;
	/** Battery temperature [degC]. */
	float temp;
	/** State of charge [%]. */
	float soc;
	/** State of health [%]. */
	float soh;
	/** Time to empty [s]. May be NAN. */
	float tte;
	/** Time to full [s]. May be NAN. */
	float ttf;
};

int fuel_gauge_init(const struct device *charger);

int fuel_gauge_update(const struct device *charger, bool vbus_connected);

int fuel_gauge_get_snapshot(struct fuel_gauge_snapshot *out);

/** @brief Persist the fuel gauge state if it is due (periodic or after VBUS change). */
void fuel_gauge_store_state(void);

#endif /* __FUEL_GAUGE_H__ */
```

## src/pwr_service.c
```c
#include <errno.h>
#include <string.h>

#include <zephyr/kernel.h>
#include <zephyr/spinlock.h>
#include <zephyr/bluetooth/uuid.h>
#include <zephyr/bluetooth/gatt.h>
#include <zephyr/sys/util.h>

#include "pwr_service.h"

#define PWR_SERVICE_UUID_VAL BT_UUID_128_ENCODE(0x00001630, 0x1212, 0xEFDE, 0x1523, 0x785FEABCD123)
#define PWR_CHAR_UUID_VAL BT_UUID_128_ENCODE(0x00001630, 0x1212, 0xEFDE, 0x1524, 0x785FEABCD123)

#define PWR_SERVICE_UUID BT_UUID_DECLARE_128(PWR_SERVICE_UUID_VAL)
#define PWR_CHAR_UUID BT_UUID_DECLARE_128(PWR_CHAR_UUID_VAL)

#define PWR_CHAR_ATTR_IDX 2

static const struct pwr_service_cb *pwr_cb;
static void *pwr_cb_user_data;
static uint8_t notify_data[CONFIG_BT_POWER_PROFILING_DATA_LENGTH];
static struct k_spinlock notify_data_lock;

static ssize_t pwr_char_read(struct bt_conn *conn, const struct bt_gatt_attr *attr,
			     void *buf, uint16_t len, uint16_t offset)
{
	uint8_t data[sizeof(notify_data)];
	k_spinlock_key_t key;

	key = k_spin_lock(&notify_data_lock);
	memcpy(data, notify_data, sizeof(data));
	k_spin_unlock(&notify_data_lock, key);

	return bt_gatt_attr_read(conn, attr, buf, len, offset, data, sizeof(data));
}

static void cccd_changed(const struct bt_gatt_attr *attr, uint16_t value)
{
	bool notify_enabled = (value == BT_GATT_CCC_NOTIFY);

	if (pwr_cb->notify_status_cb) {
		pwr_cb->notify_status_cb(notify_enabled ? PWR_SERVICE_STATUS_NOTIFY_ENABLED :
							  PWR_SERVICE_STATUS_NOTIFY_DISABLED,
					 pwr_cb_user_data);
	}
}

BT_GATT_SERVICE_DEFINE(pwr_svc,
	BT_GATT_PRIMARY_SERVICE(PWR_SERVICE_UUID),
	BT_GATT_CHARACTERISTIC(PWR_CHAR_UUID,
			       (BT_GATT_CHRC_READ | BT_GATT_CHRC_NOTIFY),
			       (BT_GATT_PERM_READ),
			       pwr_char_read, NULL, NULL),
	BT_GATT_CCC(cccd_changed, BT_GATT_PERM_READ | BT_GATT_PERM_WRITE)
);

static void pwr_service_notify_complete(struct bt_conn *conn, void *user_data)
{
	if (pwr_cb->sent_cb) {
		pwr_cb->sent_cb(conn, pwr_cb_user_data);
	}
}

int pwr_service_set_data(const uint8_t *data, size_t len)
{
	k_spinlock_key_t key;

	if (!data || len == 0 || len > sizeof(notify_data)) {
		return -EINVAL;
	}

	key = k_spin_lock(&notify_data_lock);
	memset(notify_data, 0, sizeof(notify_data));
	memcpy(notify_data, data, len);
	k_spin_unlock(&notify_data_lock, key);

	return 0;
}

int pwr_service_notify(struct bt_conn *conn)
{
	const struct bt_gatt_attr *attr = &pwr_svc.attrs[PWR_CHAR_ATTR_IDX];
	struct bt_gatt_notify_params params;

	memset(&params, 0, sizeof(params));

	params.attr = attr;
	params.data = notify_data;
	params.len = sizeof(notify_data);
	params.func = pwr_service_notify_complete;

	if (!conn) {
		return bt_gatt_notify_cb(NULL, &params);
	} else if (bt_gatt_is_subscribed(conn, attr, BT_GATT_CCC_NOTIFY)) {
		return bt_gatt_notify_cb(conn, &params);
	} else {
		return -EINVAL;
	}
}

int pwr_service_cb_register(const struct pwr_service_cb *cb, void *user_data)
{
	if (pwr_cb) {
		return -EALREADY;
	}

	pwr_cb = cb;
	pwr_cb_user_data = user_data;

	return 0;
}
```

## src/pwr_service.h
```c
#ifndef PWR_SERVICE_H_
#define PWR_SERVICE_H_

#include <zephyr/bluetooth/conn.h>
#include <stddef.h>
#include <stdint.h>

#ifdef __cplusplus
extern "C" {
#endif

/** @brief PWR Service status. */
enum pwr_service_status {
	/** PWR Service notification enabled. */
	PWR_SERVICE_STATUS_NOTIFY_ENABLED,

	/** PWR Service notification disabled. */
	PWR_SERVICE_STATUS_NOTIFY_DISABLED
};

/** @brief Notification sent callback.
 *
 * @param[in] conn Connection object.
 * @param[in] user_data User data.
 */
typedef void (*pwr_service_notification_sent_cb)(struct bt_conn *conn, void *user_data);

/** @brief Event callback. Notifies application about notification state.
 *
 * @param[in] status Notification status.
 * @param[in] user_data User data.
 */
typedef void (*pwr_service_notify_status_changed_cb)(enum pwr_service_status status,
						     void *user_data);

/** @brief PWR Service callbacks structure. */
struct pwr_service_cb {
	/** Notification sent callback. */
	pwr_service_notification_sent_cb sent_cb;

	/** Notification status callback. */
	pwr_service_notify_status_changed_cb notify_status_cb;
};

/** @brief Set the payload returned on read and sent with notifications.
 *
 * The payload is truncated or zero-padded to CONFIG_BT_POWER_PROFILING_DATA_LENGTH bytes.
 *
 * @param[in] data Payload data.
 * @param[in] len Payload length in bytes.
 *
 * @retval 0 If the operation was successful.
 *         Otherwise, a negative error code is returned.
 */
int pwr_service_set_data(const uint8_t *data, size_t len);

/** @brief Send PWR Service data. The service sends the payload set with
 *         @ref pwr_service_set_data.
 *
 * @param[in] conn Connection object. It can be NULL.
 *
 * @retval 0 If the operation was successful.
 *         Otherwise, a negative error code is returned.
 */
int pwr_service_notify(struct bt_conn *conn);

/** @brief Register PWR service callbacks. This must be called before enabling the Bluetooth stack.
 *
 * @param[in] cb Callback structure.
 * @param[in] user_data User data to be passed to callback calls.
 *
 * @retval 0 If the operation was successful.
 *         Otherwise, a negative error code is returned.
 */
int pwr_service_cb_register(const struct pwr_service_cb *cb, void *user_data);

#ifdef __cplusplus
}
#endif

#endif /* PWR_SERVICE_H_ */
```
